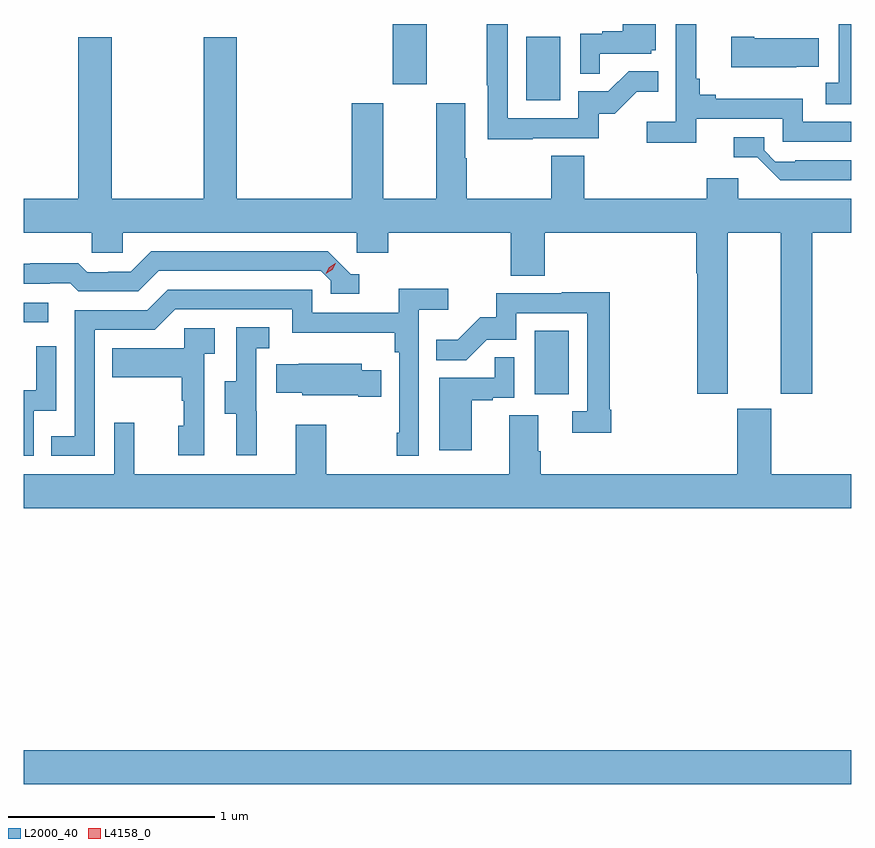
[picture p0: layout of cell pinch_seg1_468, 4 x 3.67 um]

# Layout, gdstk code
import gdstk
lib = gdstk.Library(unit=1e-6, precision=1e-09)
def R(c, l, rs):  # rectangles x0, y0, x1, y1
    for r in rs: c.add(gdstk.rectangle(r[:2], r[2:], *l))
def P(c, l, *ps):  # polygons
    for p in ps: c.add(gdstk.Polygon(p, *l))
L2000_40 = (2000, 40)
L4158_0 = (4158, 0)

pinch_seg1_468 = lib.new_cell('pinch_seg1_468')
R(pinch_seg1_468, L2000_40, [(1083.748,522.428,1087.748,522.592), (1086.218,524.31,1086.382,524.617), (1083.748,524.658,1083.868,524.754), (1086.176,525.732,1086.34,526.039), (1085.531,525.81,1085.695,526.1)])
P(pinch_seg1_468, L2000_40, [(1086.209,525.549),(1086.528,525.549),(1086.528,525.666),(1086.604,525.666),(1086.711,525.773),(1086.815,525.773),(1086.815,525.872),(1086.671,525.872),(1086.573,525.774),(1086.429,525.774),(1086.429,525.645),(1086.087,525.645),(1086.087,526.1),(1085.986,526.1),(1085.986,525.805),(1085.991,525.805),(1085.991,525.544),(1086.209,525.544)],
  [(1086.533,525.957),(1086.78,525.957),(1086.78,525.972),(1086.802,525.972),(1086.802,526.1),(1086.644,526.1),(1086.644,526.066),(1086.545,526.066),(1086.545,526.053),(1086.438,526.053),(1086.438,525.859),(1086.533,525.859)],
  [(1087.748,526.1),(1087.686,526.1),(1087.686,525.815),(1087.623,525.815),(1087.623,525.712),(1087.748,525.712)],
  [(1086.998,525.642),(1087.416,525.642),(1087.416,525.531),(1087.748,525.531),(1087.748,525.627),(1087.512,525.627),(1087.512,525.739),(1087.093,525.739),(1087.093,525.758),(1087.016,525.758),(1087.016,525.835),(1086.997,525.835),(1086.997,526.1),(1086.9,526.1),(1086.9,525.628),(1086.759,525.628),(1086.759,525.526),(1086.998,525.526)],
  [(1087.481,525.893),(1087.589,525.893),(1087.589,526.03),(1087.279,526.03),(1087.279,526.038),(1087.167,526.038),(1087.167,525.89),(1087.481,525.89)],
  [(1086.298,525.464),(1086.298,525.256),(1085.889,525.256),(1085.889,525.452),(1085.881,525.452),(1085.881,525.718),(1085.741,525.718),(1085.741,525.256),(1085.485,525.256),(1085.485,525.718),(1085.333,525.718),(1085.333,525.256),(1084.778,525.256),(1084.778,526.036),(1084.618,526.036),(1084.618,525.256),(1084.173,525.256),(1084.173,526.036),(1084.013,526.036),(1084.013,525.256),(1083.748,525.256),(1083.748,525.092),(1084.077,525.092),(1084.077,524.994),(1084.227,524.994),(1084.227,525.092),(1085.358,525.092),(1085.358,524.994),(1085.51,524.994),(1085.51,525.092),(1086.101,525.092),(1086.101,524.884),(1086.266,524.884),(1086.266,525.092),(1086.998,525.092),(1086.998,524.896),(1087.003,524.896),(1087.003,524.313),(1087.15,524.313),(1087.15,525.092),(1087.406,525.092),(1087.406,524.313),(1087.559,524.313),(1087.559,525.092),(1087.748,525.092),(1087.748,525.256),(1087.201,525.256),(1087.201,525.355),(1087.049,525.355),(1087.049,525.256),(1086.458,525.256),(1086.458,525.464)],
  [(1087.748,525.441),(1087.477,525.441),(1087.477,525.435),(1087.38,525.435),(1087.326,525.489),(1087.326,525.552),(1087.179,525.552),(1087.179,525.456),(1087.294,525.456),(1087.405,525.345),(1087.748,525.345)],
  [(1085.371,524.892),(1085.328,524.892),(1085.217,525.003),(1084.364,525.003),(1084.265,524.904),(1084.158,524.904),(1084.158,524.901),(1084.055,524.901),(1084.013,524.944),(1083.78,524.944),(1083.78,524.941),(1083.748,524.941),(1083.748,524.844),(1083.875,524.844),(1083.875,524.847),(1083.974,524.847),(1084.013,524.808),(1084.302,524.808),(1084.401,524.907),(1085.184,524.907),(1085.232,524.859),(1085.232,524.796),(1085.371,524.796)],
  [(1084.092,524.622),(1084.383,524.622),(1084.482,524.721),(1085.046,524.721),(1085.046,524.609),(1085.542,524.609),(1085.542,524.513),(1085.562,524.513),(1085.562,524.125),(1085.55,524.125),(1085.55,524.013),(1085.658,524.013),(1085.658,524.72),(1085.8,524.72),(1085.8,524.822),(1085.561,524.822),(1085.561,524.706),(1085.142,524.706),(1085.142,524.817),(1084.445,524.817),(1084.346,524.718),(1083.996,524.718),(1083.996,524.109),(1083.883,524.109),(1083.883,524.013),(1084.092,524.013)],
  [(1086.587,524.236),(1086.58,524.236),(1086.58,524.804),(1086.349,524.804),(1086.349,524.799),(1086.031,524.799),(1086.031,524.682),(1085.954,524.682),(1085.847,524.575),(1085.743,524.575),(1085.743,524.476),(1085.887,524.476),(1085.985,524.574),(1086.129,524.574),(1086.129,524.703),(1086.471,524.703),(1086.471,524.229),(1086.399,524.229),(1086.399,524.124),(1086.587,524.124)],
  [(1084.874,524.229),(1084.872,524.229),(1084.872,524.533),(1084.936,524.533),(1084.936,524.636),(1084.776,524.636),(1084.776,524.373),(1084.721,524.373),(1084.721,524.218),(1084.775,524.218),(1084.775,524.016),(1084.874,524.016)],
  [(1084.62,524.507),(1084.672,524.507),(1084.672,524.631),(1084.524,524.631),(1084.524,524.533),(1084.177,524.533),(1084.177,524.393),(1084.512,524.393),(1084.512,524.279),(1084.522,524.279),(1084.522,524.16),(1084.496,524.16),(1084.496,524.016),(1084.62,524.016)],
  [(1083.798,524.232),(1083.906,524.232),(1083.906,524.542),(1083.81,524.542),(1083.81,524.33),(1083.748,524.33),(1083.748,524.013),(1083.798,524.013)],
  [(1085.914,524.283),(1086.014,524.283),(1086.014,524.295),(1086.12,524.295),(1086.12,524.489),(1086.025,524.489),(1086.025,524.391),(1085.756,524.391),(1085.756,524.04),(1085.914,524.04)],
  [(1085.477,524.428),(1085.383,524.428),(1085.383,524.458),(1085.077,524.458),(1085.077,524.455),(1084.969,524.455),(1084.969,524.318),(1085.094,524.318),(1085.094,524.306),(1085.366,524.306),(1085.366,524.299),(1085.477,524.299)],
  [(1087.748,523.924),(1087.36,523.924),(1087.36,524.241),(1087.196,524.241),(1087.196,523.924),(1086.248,523.924),(1086.248,524.036),(1086.235,524.036),(1086.235,524.21),(1086.095,524.21),(1086.095,523.924),(1085.211,523.924),(1085.211,524.164),(1085.063,524.164),(1085.063,523.924),(1084.283,523.924),(1084.283,524.173),(1084.185,524.173),(1084.185,523.924),(1083.748,523.924),(1083.748,523.76),(1087.748,523.76)])
P(pinch_seg1_468, L4158_0, [(1085.208,524.893),(1085.208,524.893),(1085.225,524.925),(1085.255,524.944),(1085.256,524.944),(1085.256,524.944),(1085.24,524.912),(1085.209,524.893)])

lib.write_gds('pinch_seg1_468.gds')
